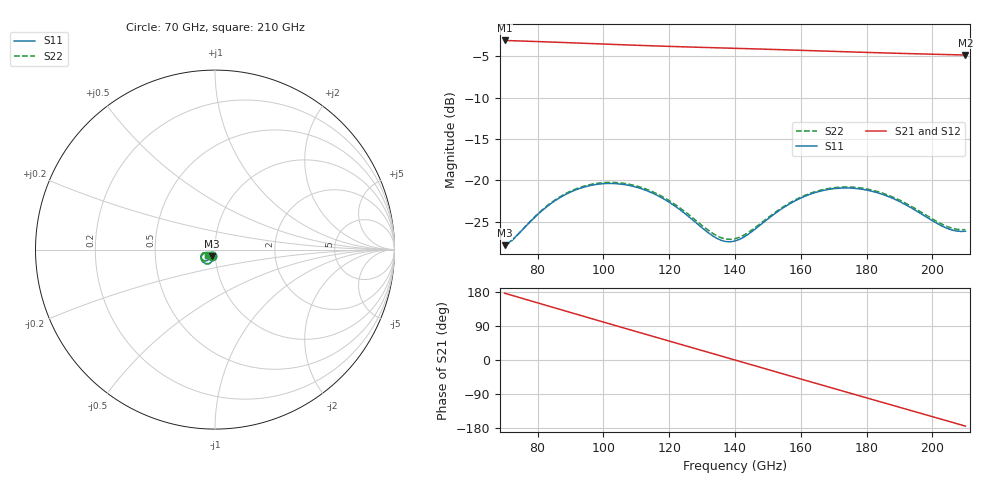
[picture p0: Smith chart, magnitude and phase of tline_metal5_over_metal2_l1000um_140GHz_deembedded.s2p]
! Created with skrf 2.2.0 (http://scikit-rf.org).
# GHz S DB R 50.0
! Port[1] = P1
! Port[2] = P2
!freq dBS11 angS11 dBS21 angS21 dBS12 angS12 dBS22 angS22
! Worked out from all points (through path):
!   101 points, 70 GHz to 210 GHz, reference 50 ohm
!   highest |S21| = -3.10 dB at 70 GHz (marker M1); lowest = -4.9 dB at 210 GHz (marker M2)
!   group delay of S21, straight-line fit = 6.95 ps
!   lowest |S11| = -27.9 dB at 70 GHz (marker M3), VSWR 1.08, Z = 48 - j3.45 ohm
!   |S11| at or under -10 dB: start of sweep to end of sweep
!   |S22| runs from -28.0 to -20.3 dB; largest |S21 - S12| = 7.2e-14
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70  -27.86 -117.6  -3.10 176.3  -3.10 176.3  -27.97 -115.9
75.6  -25.91 -105.0  -3.17 162.0  -3.17 162.0  -25.90 -103.3
81.2  -23.73 -104.4  -3.25 147.8  -3.25 147.8  -23.66 -102.9
88.2  -21.79 -111.8  -3.35 130.0  -3.35 130.0  -21.69 -110.5
93.8  -20.87 -120.4  -3.44 115.8  -3.44 115.8  -20.75 -119.2
99.4  -20.44 -129.9  -3.52 101.7  -3.52 101.7  -20.31 -128.7
105  -20.46 -139.4  -3.61 87.6  -3.61 87.6  -20.32 -138.3
110.6  -20.91 -148.3  -3.69 73.5  -3.69 73.5  -20.75 -147.2
117.6  -22.09 -157.6  -3.78 56.0  -3.78 56.0  -21.91 -156.4
128.8  -25.35 -161.3  -3.92 28.0  -3.92 28.0  -25.09 -160.4
135.8  -27.27 -149.2  -4.00 10.5  -4.00 10.5  -26.96 -148.9
140  -27.35 -137.5  -4.05 -0.0  -4.05 -0.0  -27.07 -137.7
145.6  -26.07 -125.9  -4.11 -14.1  -4.11 -14.1  -25.88 -126.3
151.2  -24.31 -122.4  -4.18 -28.1  -4.18 -28.1  -24.17 -122.7
163.8  -21.56 -131.8  -4.34 -59.6  -4.34 -59.6  -21.45 -131.6
169.4  -21.05 -138.8  -4.41 -73.6  -4.41 -73.6  -20.94 -138.5
175  -20.95 -146.2  -4.48 -87.6  -4.48 -87.6  -20.83 -145.7
180.6  -21.24 -153.1  -4.55 -101.5  -4.55 -101.5  -21.10 -152.6
187.6  -22.14 -160.2  -4.63 -118.8  -4.63 -118.8  -21.98 -159.7
198.8  -24.61 -162.4  -4.75 -146.6  -4.75 -146.6  -24.40 -162.1
205.8  -26.00 -153.5  -4.82 -164.0  -4.82 -164.0  -25.78 -153.5
210  -26.17 -145.1  -4.86 -174.5  -4.86 -174.5  -25.98 -145.4
